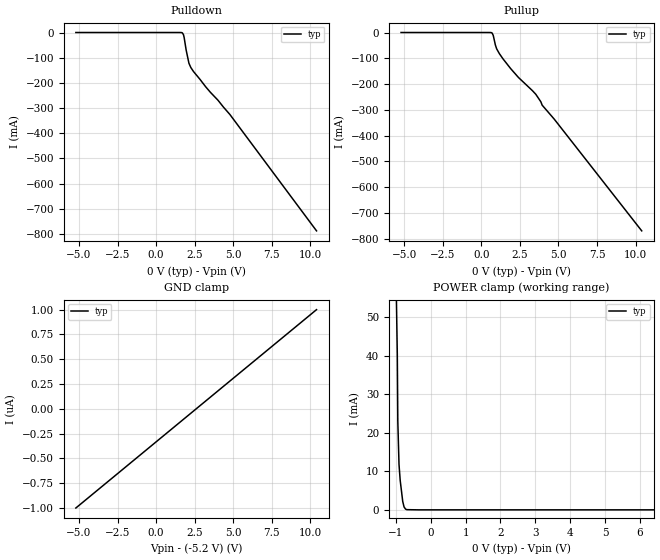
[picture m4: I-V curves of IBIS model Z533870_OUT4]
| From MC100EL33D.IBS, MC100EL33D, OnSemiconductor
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| (C) COPYRIGHT 1993-2000
| MENTOR GRAPHICS CORPORATION
| ICX STANDARD LIBRARY, ICX PROJECT MODELING,
| ICX CUSTOM MODELING, ICX VENDOR MODEL
| ALL RIGHTS RESERVED.
| THE FOLLOWING ARE TRADEMARKS OR SERVICE MARKS OF
| MENTOR GRAPHICS CORPORATION:ICX (R), ICX STANDARD
| LIBRARY(R), ICX PROJECT MODELING(R), ICX CUSTOM
| MODELING(R), qualityIBIS(TM), MODELVIEWER(TM),
| AND MODELEDITOR(TM)
| ALL COPIES OF SOFTWARE, INCLUDING BUT NOT LIMITED TO
| ANY MODIFICATIONS, ENHANCEMENTS OR DERIVATIVE WORKS,
| MUST CONTAIN ALL MENTOR GRAPHICS CORPORATION'S
| NOTICES AND LEGENDS, INCLUDING THOSE EMBEDDED IN
| SOFTWARE AND THOSE AFFIXED TO SOFTWARE MEDIUM
| AND CONTAINER, AS RECEIVED FROM MENTOR GRAPHICS
| CORPORATION.
| Model Application Version 1.89 2/18/99.
[Model] Z533870_OUT4
Model_type Output_ECL
Vref=-2.000V
Rref=50.00ohms
Cref=0.000F
Vmeas=-1.320V
C_comp 8.000pF NA NA
| variable typ   min   max
[Voltage Range] -5.200V NA NA
[POWER Clamp Reference] 0.000V NA NA
[Pullup Reference] 0.000V NA NA
[Pulldown Reference] 0.000V NA NA
[GND Clamp Reference] -5.200V NA NA
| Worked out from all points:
|   POWER clamp passes 1 mA (typ) near -0.77 V on its own axis
[GND Clamp]
-5.2V     -1uA       NA         NA
10.4V     1uA        NA         NA
[Pulldown]
-5.2V     56.97uA    NA         NA
1.703V    -1.446mA   NA         NA
1.777V    -8.817mA   NA         NA
1.822V    -20.69mA   NA         NA
1.948V    -69.23mA   NA         NA
2.129V    -122mA     NA         NA
2.25V     -138.7mA   NA         NA
2.431V    -155.3mA   NA         NA
3.203V    -214.5mA   NA         NA
4.008V    -268.5mA   NA         NA
4.783V    -325.3mA   NA         NA
10.4V     -787.3mA   NA         NA
[Pullup]
-5.2V     157.6uA    NA         NA
703.1mV   -2.059mA   NA         NA
776.4mV   -11.08mA   NA         NA
914.1mV   -48.27mA   NA         NA
996.1mV   -63.09mA   NA         NA
1.411V    -102.4mA   NA         NA
2.409V    -174.4mA   NA         NA
3.535V    -239.8mA   NA         NA
3.864V    -269.1mA   NA         NA
3.946V    -281.9mA   NA         NA
4.726V    -336mA     NA         NA
10.4V     -770.1mA   NA         NA
[POWER Clamp]
-5.2V     1.57A      NA         NA
-1.099V   116.2mA    NA         NA
-962mV    40.28mA    NA         NA
-947.3mV  22.89mA    NA         NA
-913.1mV  11.78mA    NA         NA
-878.8mV  7.619mA    NA         NA
-805.7mV  2.145mA    NA         NA
-768.1mV  755.6uA    NA         NA
-725.3mV  193.4uA    NA         NA
-687.3mV  49uA       NA         NA
10.4V     0A         NA         NA
[Ramp]
| variable typ min max
dV/dt_r 550.8m/794.9p NA NA
dV/dt_f 550.8m/507.1p NA NA
R_load = 50.00Ohms
